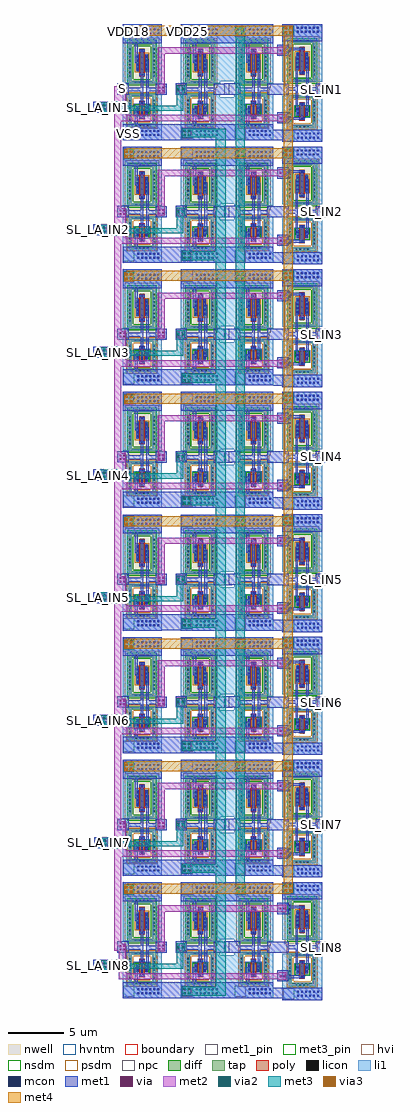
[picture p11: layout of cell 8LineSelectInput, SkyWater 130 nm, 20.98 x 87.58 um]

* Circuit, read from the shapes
.subckt 8LineSelectInput S SL_IN1 SL_IN2 SL_IN3 SL_IN4 SL_IN5 SL_IN6 SL_IN7 SL_IN8 SL_LA_IN1 SL_LA_IN2 SL_LA_IN3 SL_LA_IN4 SL_LA_IN5 SL_LA_IN6 SL_LA_IN7 SL_LA_IN8 VDD18 VDD25 VSS
XM1 1LineSelectInput_0/TransmissionGate_1/SP S VSS VSS sky130_fd_pr__nfet_g5v0d10v5 w=0.75 l=0.5
XM2 1LineSelectInput_1/TransmissionGate_1/SP S VSS VSS sky130_fd_pr__nfet_g5v0d10v5 w=0.75 l=0.5
XM3 1LineSelectInput_2/TransmissionGate_1/SP S VSS VSS sky130_fd_pr__nfet_g5v0d10v5 w=0.75 l=0.5
XM4 1LineSelectInput_3/TransmissionGate_1/SP S VSS VSS sky130_fd_pr__nfet_g5v0d10v5 w=0.75 l=0.5
XM5 1LineSelectInput_4/TransmissionGate_1/SP S VSS VSS sky130_fd_pr__nfet_g5v0d10v5 w=0.75 l=0.5
XM6 1LineSelectInput_5/TransmissionGate_1/SP S VSS VSS sky130_fd_pr__nfet_g5v0d10v5 w=0.75 l=0.5
XM7 1LineSelectInput_6/TransmissionGate_1/SP S VSS VSS sky130_fd_pr__nfet_g5v0d10v5 w=0.75 l=0.5
XM8 1LineSelectInput_7/TransmissionGate_1/SP S VSS VSS sky130_fd_pr__nfet_g5v0d10v5 w=0.75 l=0.5
XM9 1LineSelectInput_0/Buffer_2/Inverter_0/Vin SL_LA_IN8 VSS VSS sky130_fd_pr__nfet_g5v0d10v5 w=0.75 l=0.5
XM10 1LineSelectInput_1/Buffer_2/Inverter_0/Vin SL_LA_IN7 VSS VSS sky130_fd_pr__nfet_g5v0d10v5 w=0.75 l=0.5
XM11 1LineSelectInput_2/Buffer_2/Inverter_0/Vin SL_LA_IN6 VSS VSS sky130_fd_pr__nfet_g5v0d10v5 w=0.75 l=0.5
XM12 1LineSelectInput_3/Buffer_2/Inverter_0/Vin SL_LA_IN5 VSS VSS sky130_fd_pr__nfet_g5v0d10v5 w=0.75 l=0.5
XM13 1LineSelectInput_4/Buffer_2/Inverter_0/Vin SL_LA_IN4 VSS VSS sky130_fd_pr__nfet_g5v0d10v5 w=0.75 l=0.5
XM14 1LineSelectInput_5/Buffer_2/Inverter_0/Vin SL_LA_IN3 VSS VSS sky130_fd_pr__nfet_g5v0d10v5 w=0.75 l=0.5
XM15 1LineSelectInput_6/Buffer_2/Inverter_0/Vin SL_LA_IN2 VSS VSS sky130_fd_pr__nfet_g5v0d10v5 w=0.75 l=0.5
XM16 1LineSelectInput_7/Buffer_2/Inverter_0/Vin SL_LA_IN1 VSS VSS sky130_fd_pr__nfet_g5v0d10v5 w=0.75 l=0.5
XM17 1LineSelectInput_0/TransmissionGate_1/In 1LineSelectInput_0/Buffer_2/Inverter_0/Vin VSS VSS sky130_fd_pr__nfet_g5v0d10v5 w=0.75 l=0.5
XM18 1LineSelectInput_1/TransmissionGate_1/In 1LineSelectInput_1/Buffer_2/Inverter_0/Vin VSS VSS sky130_fd_pr__nfet_g5v0d10v5 w=0.75 l=0.5
XM19 1LineSelectInput_2/TransmissionGate_1/In 1LineSelectInput_2/Buffer_2/Inverter_0/Vin VSS VSS sky130_fd_pr__nfet_g5v0d10v5 w=0.75 l=0.5
XM20 1LineSelectInput_3/TransmissionGate_1/In 1LineSelectInput_3/Buffer_2/Inverter_0/Vin VSS VSS sky130_fd_pr__nfet_g5v0d10v5 w=0.75 l=0.5
XM21 1LineSelectInput_4/TransmissionGate_1/In 1LineSelectInput_4/Buffer_2/Inverter_0/Vin VSS VSS sky130_fd_pr__nfet_g5v0d10v5 w=0.75 l=0.5
XM22 1LineSelectInput_5/TransmissionGate_1/In 1LineSelectInput_5/Buffer_2/Inverter_0/Vin VSS VSS sky130_fd_pr__nfet_g5v0d10v5 w=0.75 l=0.5
XM23 1LineSelectInput_6/TransmissionGate_1/In 1LineSelectInput_6/Buffer_2/Inverter_0/Vin VSS VSS sky130_fd_pr__nfet_g5v0d10v5 w=0.75 l=0.5
XM24 1LineSelectInput_7/TransmissionGate_1/In 1LineSelectInput_7/Buffer_2/Inverter_0/Vin VSS VSS sky130_fd_pr__nfet_g5v0d10v5 w=0.75 l=0.5
XM25 SL_IN8 S 1LineSelectInput_0/TransmissionGate_1/In VSS sky130_fd_pr__nfet_g5v0d10v5 w=0.75 l=0.5
XM26 SL_IN7 S 1LineSelectInput_1/TransmissionGate_1/In VSS sky130_fd_pr__nfet_g5v0d10v5 w=0.75 l=0.5
XM27 SL_IN6 S 1LineSelectInput_2/TransmissionGate_1/In VSS sky130_fd_pr__nfet_g5v0d10v5 w=0.75 l=0.5
XM28 SL_IN5 S 1LineSelectInput_3/TransmissionGate_1/In VSS sky130_fd_pr__nfet_g5v0d10v5 w=0.75 l=0.5
XM29 SL_IN4 S 1LineSelectInput_4/TransmissionGate_1/In VSS sky130_fd_pr__nfet_g5v0d10v5 w=0.75 l=0.5
XM30 SL_IN3 S 1LineSelectInput_5/TransmissionGate_1/In VSS sky130_fd_pr__nfet_g5v0d10v5 w=0.75 l=0.5
XM31 SL_IN2 S 1LineSelectInput_6/TransmissionGate_1/In VSS sky130_fd_pr__nfet_g5v0d10v5 w=0.75 l=0.5
XM32 SL_IN1 S 1LineSelectInput_7/TransmissionGate_1/In VSS sky130_fd_pr__nfet_g5v0d10v5 w=0.75 l=0.5
XM33 1LineSelectInput_0/TransmissionGate_1/SP S VDD18 VDD18 sky130_fd_pr__pfet_g5v0d10v5 w=1.5 l=0.5
XM34 1LineSelectInput_1/TransmissionGate_1/SP S VDD18 VDD18 sky130_fd_pr__pfet_g5v0d10v5 w=1.5 l=0.5
XM35 1LineSelectInput_2/TransmissionGate_1/SP S VDD18 VDD18 sky130_fd_pr__pfet_g5v0d10v5 w=1.5 l=0.5
XM36 1LineSelectInput_3/TransmissionGate_1/SP S VDD18 VDD18 sky130_fd_pr__pfet_g5v0d10v5 w=1.5 l=0.5
XM37 1LineSelectInput_4/TransmissionGate_1/SP S VDD18 VDD18 sky130_fd_pr__pfet_g5v0d10v5 w=1.5 l=0.5
XM38 1LineSelectInput_5/TransmissionGate_1/SP S VDD18 VDD18 sky130_fd_pr__pfet_g5v0d10v5 w=1.5 l=0.5
XM39 1LineSelectInput_6/TransmissionGate_1/SP S VDD18 VDD18 sky130_fd_pr__pfet_g5v0d10v5 w=1.5 l=0.5
XM40 1LineSelectInput_7/TransmissionGate_1/SP S VDD18 VDD18 sky130_fd_pr__pfet_g5v0d10v5 w=1.5 l=0.5
XM41 1LineSelectInput_0/Buffer_2/Inverter_0/Vin SL_LA_IN8 VDD25 VDD25 sky130_fd_pr__pfet_g5v0d10v5 w=1.5 l=0.5
XM42 1LineSelectInput_1/Buffer_2/Inverter_0/Vin SL_LA_IN7 VDD25 VDD25 sky130_fd_pr__pfet_g5v0d10v5 w=1.5 l=0.5
XM43 1LineSelectInput_2/Buffer_2/Inverter_0/Vin SL_LA_IN6 VDD25 VDD25 sky130_fd_pr__pfet_g5v0d10v5 w=1.5 l=0.5
XM44 1LineSelectInput_3/Buffer_2/Inverter_0/Vin SL_LA_IN5 VDD25 VDD25 sky130_fd_pr__pfet_g5v0d10v5 w=1.5 l=0.5
XM45 1LineSelectInput_4/Buffer_2/Inverter_0/Vin SL_LA_IN4 VDD25 VDD25 sky130_fd_pr__pfet_g5v0d10v5 w=1.5 l=0.5
XM46 1LineSelectInput_5/Buffer_2/Inverter_0/Vin SL_LA_IN3 VDD25 VDD25 sky130_fd_pr__pfet_g5v0d10v5 w=1.5 l=0.5
XM47 1LineSelectInput_6/Buffer_2/Inverter_0/Vin SL_LA_IN2 VDD25 VDD25 sky130_fd_pr__pfet_g5v0d10v5 w=1.5 l=0.5
XM48 1LineSelectInput_7/Buffer_2/Inverter_0/Vin SL_LA_IN1 VDD25 VDD25 sky130_fd_pr__pfet_g5v0d10v5 w=1.5 l=0.5
XM49 1LineSelectInput_0/TransmissionGate_1/In 1LineSelectInput_0/Buffer_2/Inverter_0/Vin VDD25 VDD25 sky130_fd_pr__pfet_g5v0d10v5 w=1.5 l=0.5
XM50 1LineSelectInput_1/TransmissionGate_1/In 1LineSelectInput_1/Buffer_2/Inverter_0/Vin VDD25 VDD25 sky130_fd_pr__pfet_g5v0d10v5 w=1.5 l=0.5
XM51 1LineSelectInput_2/TransmissionGate_1/In 1LineSelectInput_2/Buffer_2/Inverter_0/Vin VDD25 VDD25 sky130_fd_pr__pfet_g5v0d10v5 w=1.5 l=0.5
XM52 1LineSelectInput_3/TransmissionGate_1/In 1LineSelectInput_3/Buffer_2/Inverter_0/Vin VDD25 VDD25 sky130_fd_pr__pfet_g5v0d10v5 w=1.5 l=0.5
XM53 1LineSelectInput_4/TransmissionGate_1/In 1LineSelectInput_4/Buffer_2/Inverter_0/Vin VDD25 VDD25 sky130_fd_pr__pfet_g5v0d10v5 w=1.5 l=0.5
XM54 1LineSelectInput_5/TransmissionGate_1/In 1LineSelectInput_5/Buffer_2/Inverter_0/Vin VDD25 VDD25 sky130_fd_pr__pfet_g5v0d10v5 w=1.5 l=0.5
XM55 1LineSelectInput_6/TransmissionGate_1/In 1LineSelectInput_6/Buffer_2/Inverter_0/Vin VDD25 VDD25 sky130_fd_pr__pfet_g5v0d10v5 w=1.5 l=0.5
XM56 1LineSelectInput_7/TransmissionGate_1/In 1LineSelectInput_7/Buffer_2/Inverter_0/Vin VDD25 VDD25 sky130_fd_pr__pfet_g5v0d10v5 w=1.5 l=0.5
XM57 SL_IN8 1LineSelectInput_0/TransmissionGate_1/SP 1LineSelectInput_0/TransmissionGate_1/In VDD18 sky130_fd_pr__pfet_g5v0d10v5 w=1.5 l=0.5
XM58 SL_IN7 1LineSelectInput_1/TransmissionGate_1/SP 1LineSelectInput_1/TransmissionGate_1/In VDD18 sky130_fd_pr__pfet_g5v0d10v5 w=1.5 l=0.5
XM59 SL_IN6 1LineSelectInput_2/TransmissionGate_1/SP 1LineSelectInput_2/TransmissionGate_1/In VDD18 sky130_fd_pr__pfet_g5v0d10v5 w=1.5 l=0.5
XM60 SL_IN5 1LineSelectInput_3/TransmissionGate_1/SP 1LineSelectInput_3/TransmissionGate_1/In VDD18 sky130_fd_pr__pfet_g5v0d10v5 w=1.5 l=0.5
XM61 SL_IN4 1LineSelectInput_4/TransmissionGate_1/SP 1LineSelectInput_4/TransmissionGate_1/In VDD18 sky130_fd_pr__pfet_g5v0d10v5 w=1.5 l=0.5
XM62 SL_IN3 1LineSelectInput_5/TransmissionGate_1/SP 1LineSelectInput_5/TransmissionGate_1/In VDD18 sky130_fd_pr__pfet_g5v0d10v5 w=1.5 l=0.5
XM63 SL_IN2 1LineSelectInput_6/TransmissionGate_1/SP 1LineSelectInput_6/TransmissionGate_1/In VDD18 sky130_fd_pr__pfet_g5v0d10v5 w=1.5 l=0.5
XM64 SL_IN1 1LineSelectInput_7/TransmissionGate_1/SP 1LineSelectInput_7/TransmissionGate_1/In VDD18 sky130_fd_pr__pfet_g5v0d10v5 w=1.5 l=0.5
.ends

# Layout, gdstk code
import gdstk
lib = gdstk.Library(unit=1e-6, precision=1e-09)
def R(c, l, rs):  # rectangles x0, y0, x1, y1
    for r in rs: c.add(gdstk.rectangle(r[:2], r[2:], *l))
def A(c, l, x, y, w, h, nx, ny, dx, dy):  # array of equal rectangles
    R(c, l, [(x+i*dx, y+j*dy, x+i*dx+w, y+j*dy+h) for i in range(nx) for j in range(ny)])
nwell = (64, 20)
diff = (65, 20)
tap = (65, 44)
poly = (66, 20)
licon = (66, 44)
li1 = (67, 20)
mcon = (67, 44)
met1_pin = (68, 16)
met1 = (68, 20)
via = (68, 44)
met2 = (69, 20)
via2 = (69, 44)
met3_pin = (70, 16)
met3 = (70, 20)
via3 = (70, 44)
met4 = (71, 20)
hvi = (75, 20)
nsdm = (93, 44)
psdm = (94, 20)
npc = (95, 20)
hvntm = (125, 20)
boundary = (235, 4)

sky130_fd_pr__pfet_g5v0d = lib.new_cell('sky130_fd_pr__pfet_g5v0d10v5_7EBZY6')
R(sky130_fd_pr__pfet_g5v0d, nwell, [(-1.54,-2.235,1.54,2.235)])
R(sky130_fd_pr__pfet_g5v0d, diff, [(-0.54,-0.75,0.54,0.75)])
R(sky130_fd_pr__pfet_g5v0d, tap, [(-1.21,-1.905,1.21,-1.615), (-1.21,-1.615,-0.92,1.615), (0.92,-1.615,1.21,1.615), (-1.21,1.615,1.21,1.905)])
R(sky130_fd_pr__pfet_g5v0d, poly, [(-0.25,-1.235,0.25,1.235)])
A(sky130_fd_pr__pfet_g5v0d, licon, -0.595, -1.845, 0.17, 0.17, 4, 2, 0.34, 3.52)
A(sky130_fd_pr__pfet_g5v0d, licon, -1.15, -1.275, 0.17, 0.17, 1, 8, 0, 0.34)
A(sky130_fd_pr__pfet_g5v0d, licon, 0.98, -1.275, 0.17, 0.17, 1, 8, 0, 0.34)
A(sky130_fd_pr__pfet_g5v0d, licon, -0.48, -0.595, 0.17, 0.17, 1, 4, 0, 0.34)
A(sky130_fd_pr__pfet_g5v0d, licon, 0.31, -0.595, 0.17, 0.17, 1, 4, 0, 0.34)
R(sky130_fd_pr__pfet_g5v0d, licon, [(-0.085,-1.155,0.085,-0.985), (-0.085,0.985,0.085,1.155)])
R(sky130_fd_pr__pfet_g5v0d, li1, [(-1.15,-1.845,1.15,-1.675), (-1.15,-1.675,-0.98,1.675), (0.98,-1.675,1.15,1.675), (-0.25,-1.155,0.25,-0.985), (-0.48,-0.77,-0.31,0.77), (0.31,-0.77,0.48,0.77), (-0.25,0.985,0.25,1.155), (-1.15,1.675,1.15,1.845)])
A(sky130_fd_pr__pfet_g5v0d, mcon, -0.48, -0.625, 0.17, 0.17, 1, 4, 0, 0.36)
A(sky130_fd_pr__pfet_g5v0d, mcon, 0.31, -0.625, 0.17, 0.17, 1, 4, 0, 0.36)
R(sky130_fd_pr__pfet_g5v0d, mcon, [(-0.085,-1.155,0.085,-0.985), (-0.085,0.985,0.085,1.155)])
R(sky130_fd_pr__pfet_g5v0d, met1, [(-0.23,-1.185,0.23,-0.955), (-0.51,-0.75,-0.28,0.75), (0.28,-0.75,0.51,0.75), (-0.23,0.955,0.23,1.185)])
R(sky130_fd_pr__pfet_g5v0d, hvi, [(-1.54,-2.235,1.54,2.235)])
R(sky130_fd_pr__pfet_g5v0d, nsdm, [(-1.335,-2.03,1.335,-1.49), (-1.335,-1.49,-0.795,1.49), (0.795,-1.49,1.335,1.49), (-1.335,1.49,1.335,2.03)])
R(sky130_fd_pr__pfet_g5v0d, psdm, [(-0.665,-0.875,0.665,0.875)])
R(sky130_fd_pr__pfet_g5v0d, npc, [(-0.185,-1.255,0.185,-0.885), (-0.185,0.885,0.185,1.255)])
R(sky130_fd_pr__pfet_g5v0d, boundary, [(-1.065,-1.76,1.065,1.76)])

sky130_fd_pr__nfet_g5v0d = lib.new_cell('sky130_fd_pr__nfet_g5v0d10v5_6XHARQ')
R(sky130_fd_pr__nfet_g5v0d, diff, [(-0.54,-0.375,0.54,0.375)])
R(sky130_fd_pr__nfet_g5v0d, tap, [(-1.21,-1.485,1.21,-1.195), (-1.21,-1.195,-0.92,1.195), (0.92,-1.195,1.21,1.195), (-1.21,1.195,1.21,1.485)])
R(sky130_fd_pr__nfet_g5v0d, poly, [(-0.25,-0.815,0.25,0.815)])
A(sky130_fd_pr__nfet_g5v0d, licon, -0.595, -1.425, 0.17, 0.17, 4, 2, 0.34, 2.68)
A(sky130_fd_pr__nfet_g5v0d, licon, -1.15, -0.935, 0.17, 0.17, 1, 6, 0, 0.34)
A(sky130_fd_pr__nfet_g5v0d, licon, 0.98, -0.935, 0.17, 0.17, 1, 6, 0, 0.34)
R(sky130_fd_pr__nfet_g5v0d, licon, [(-0.085,-0.735,0.085,-0.565), (-0.48,-0.255,-0.31,-0.085), (0.31,-0.255,0.48,-0.085), (-0.48,0.085,-0.31,0.255), (0.31,0.085,0.48,0.255), (-0.085,0.565,0.085,0.735)])
R(sky130_fd_pr__nfet_g5v0d, li1, [(-1.15,-1.425,1.15,-1.255), (-1.15,-1.255,-0.98,1.255), (0.98,-1.255,1.15,1.255), (-0.25,-0.735,0.25,-0.565), (-0.48,-0.395,-0.31,0.395), (0.31,-0.395,0.48,0.395), (-0.25,0.565,0.25,0.735), (-1.15,1.255,1.15,1.425)])
R(sky130_fd_pr__nfet_g5v0d, mcon, [(-0.085,-0.735,0.085,-0.565), (-0.48,-0.265,-0.31,-0.095), (0.31,-0.265,0.48,-0.095), (-0.48,0.095,-0.31,0.265), (0.31,0.095,0.48,0.265), (-0.085,0.565,0.085,0.735)])
R(sky130_fd_pr__nfet_g5v0d, met1, [(-0.23,-0.765,0.23,-0.535), (-0.51,-0.375,-0.28,0.375), (0.28,-0.375,0.51,0.375), (-0.23,0.535,0.23,0.765)])
R(sky130_fd_pr__nfet_g5v0d, hvi, [(-1.395,-1.67,1.395,1.67)])
R(sky130_fd_pr__nfet_g5v0d, nsdm, [(-0.665,-0.5,0.665,0.5)])
R(sky130_fd_pr__nfet_g5v0d, psdm, [(-1.335,-1.61,1.335,-1.07), (-1.335,-1.07,-0.795,1.07), (0.795,-1.07,1.335,1.07), (-1.335,1.07,1.335,1.61)])
R(sky130_fd_pr__nfet_g5v0d, npc, [(-0.185,-0.835,0.185,-0.465), (-0.185,0.465,0.185,0.835)])
R(sky130_fd_pr__nfet_g5v0d, hvntm, [(-0.725,-0.56,0.725,0.56)])
R(sky130_fd_pr__nfet_g5v0d, boundary, [(-1.065,-1.34,1.065,1.34)])

inverter = lib.new_cell('Inverter')
R(inverter, li1, [(4.95,-2.22,8.45,-0.93), (4.95,-0.93,5.73,1.91), (7.67,-0.93,8.45,1.91), (4.95,1.91,5.54,1.92), (7.84,1.91,8.45,1.92), (4.95,2.9,5.56,2.92), (7.84,2.9,8.46,2.92), (4.95,2.92,5.73,6.43), (7.67,2.92,8.46,6.43), (4.95,6.43,8.46,8.19)])
A(inverter, mcon, 6.275, -1.835, 0.17, 0.17, 6, 2, 0.36, 0.36)
A(inverter, mcon, 6.275, 7.275, 0.17, 0.17, 6, 2, 0.36, 0.36)
R(inverter, met1_pin, [(5,-2.1,6,-1.1), (7.9,1.86,8.9,2.86), (4.48,1.88,5.48,2.88), (5.01,7.07,6.01,8.07)])
R(inverter, met1, [(4.95,-2.22,8.45,-0.77), (6.02,-0.77,6.31,0.59), (6.6,-0.24,6.77,0.96), (7.06,0.35,7.31,2.16), (6.57,0.96,6.8,2.16), (7.9,1.86,8.9,2.16), (4.48,1.88,5.48,2.16), (4.48,2.16,6.8,2.51), (7.06,2.16,8.9,2.51), (4.48,2.51,5.48,2.88), (6.57,2.51,6.8,3.9), (7.06,2.51,7.31,5.02), (7.9,2.51,8.9,2.86), (6.59,3.9,6.79,5.89), (6.02,4.75,6.31,6.5), (7.19,5.02,7.31,5.03), (4.95,6.5,8.46,8.19)])
R(inverter, hvi, [(5.295,2.165,8.085,2.51)])
inverter.add(gdstk.Reference(sky130_fd_pr__pfet_g5v0d, (6.69,4.745)))
inverter.add(gdstk.Reference(sky130_fd_pr__nfet_g5v0d, (6.69,0.495)))
inverter.add(gdstk.Label('Vin', (4.98,2.38), layer=68, texttype=5))
inverter.add(gdstk.Label('VDD', (5.51,7.57), layer=68, texttype=5))
inverter.add(gdstk.Label('VSS', (5.5,-1.6), layer=68, texttype=5))
inverter.add(gdstk.Label('Vout', (8.4,2.36), layer=68, texttype=5))

transmissiongate = lib.new_cell('TransmissionGate')
R(transmissiongate, li1, [(1.07,2.1,4.66,3.51), (1.07,3.51,1.71,6.26), (3.79,3.51,4.66,6.26), (1.07,7.52,1.71,10.17), (4.01,7.52,4.65,11.06), (1.07,10.17,1.78,10.78), (1.07,10.78,1.71,11.06), (1.07,11.06,4.65,12.68)])
A(transmissiongate, mcon, 2.4, 2.405, 0.17, 0.17, 6, 2, 0.36, 0.36)
A(transmissiongate, mcon, 2.39, 11.885, 0.17, 0.17, 6, 2, 0.36, 0.36)
R(transmissiongate, met1_pin, [(1.15,2.16,2.15,3.16), (0.63,3.77,1.63,4.77), (0.64,6.33,1.64,7.33), (4.08,6.33,5.08,7.33), (0.64,9.81,1.64,10.81), (1.14,11.64,2.14,12.64)])
R(transmissiongate, met1, [(1.07,2.1,4.66,3.2), (0.63,3.77,1.63,4.07), (0.63,4.07,2.72,4.3), (0.63,4.3,1.63,4.77), (2.75,4.3,2.96,5.56), (2.27,4.79,2.48,6.67), (3.24,4.81,3.45,6.67), (0.64,6.33,1.64,6.67), (4.08,6.33,5.08,6.67), (0.64,6.67,2.48,7.01), (3.24,6.67,5.08,7.01), (0.64,7.01,1.64,7.33), (2.27,7.01,2.48,9.72), (3.24,7.01,3.45,9.74), (4.08,7.01,5.08,7.33), (2.75,8.2,2.97,10.32), (0.64,9.81,1.64,10.32), (0.64,10.32,3.01,10.55), (0.64,10.55,1.64,10.81), (1.07,11.13,4.65,12.68)])
R(transmissiongate, hvi, [(1.465,6.505,4.255,7.13)])
transmissiongate.add(gdstk.Reference(sky130_fd_pr__pfet_g5v0d, (2.86,9.365)))
transmissiongate.add(gdstk.Reference(sky130_fd_pr__nfet_g5v0d, (2.86,4.835)))
transmissiongate.add(gdstk.Label('Out', (4.58,6.83), layer=68, texttype=5))
transmissiongate.add(gdstk.Label('In', (1.14,6.83), layer=68, texttype=5))
transmissiongate.add(gdstk.Label('SP', (1.14,10.31), layer=68, texttype=5))
transmissiongate.add(gdstk.Label('VDD', (1.64,12.14), layer=68, texttype=5))
transmissiongate.add(gdstk.Label('VSS', (1.65,2.66), layer=68, texttype=5))
transmissiongate.add(gdstk.Label('SN', (1.13,4.27), layer=68, texttype=5))

buffer = lib.new_cell('Buffer')
R(buffer, li1, [(13.26,6.8,14.54,10.67), (13.26,12.09,14.54,15.53), (13.27,15.53,14.54,17.21)])
R(buffer, met1_pin, [(9.79,6.94,10.79,7.94), (17.49,10.88,18.49,11.88), (9.29,10.9,10.29,11.9), (9.82,16.09,10.82,17.09)])
R(buffer, met1, [(13.26,6.8,14.54,8.25), (9.79,6.94,10.79,7.94), (13.65,10.88,14.36,11.9), (17.49,10.88,18.49,11.88), (9.29,10.9,10.29,11.9), (13.27,15.52,14.54,17.21), (9.82,16.09,10.82,17.09)])
buffer.add(gdstk.Reference(inverter, (9.59,9.02)))
buffer.add(gdstk.Reference(inverter, (4.81,9.02)))
buffer.add(gdstk.Label('VDD', (10.32,16.59), layer=68, texttype=5))
buffer.add(gdstk.Label('VSS', (10.29,7.44), layer=68, texttype=5))
buffer.add(gdstk.Label('Vin', (9.79,11.4), layer=68, texttype=5))
buffer.add(gdstk.Label('Vout', (17.99,11.38), layer=68, texttype=5))

c_1lineselectinput = lib.new_cell('1LineSelectInput')
R(c_1lineselectinput, met1_pin, [(7.3,4.25,8.3,5.25), (24.58,8.21,25.58,9.21), (6.78,8.23,7.78,9.23), (7.31,13.42,8.31,14.42), (12.54,13.42,13.54,14.42)])
R(c_1lineselectinput, met1, [(20.76,4.12,21.73,5.045), (10.74,4.14,12.81,5.58), (7.3,4.25,8.3,5.25), (20.735,5.045,22.185,5.08), (21.21,5.83,21.99,6.4), (24.58,8.21,25.58,9.21), (6.78,8.23,7.78,9.23), (10.33,8.4,11.09,9.02), (12.04,8.4,12.86,9.04), (21.19,11.91,21.97,12.46), (7.31,13.42,8.31,14.42), (12.54,13.42,13.54,14.42), (21.65,13.6,22.55,14.4)])
R(c_1lineselectinput, via, [(21.365,6.04,21.515,6.19), (21.685,6.04,21.835,6.19), (6.98,8.44,7.13,8.59), (7.3,8.44,7.45,8.59), (10.475,8.475,10.625,8.625), (10.795,8.475,10.945,8.625), (12.215,8.485,12.365,8.635), (12.535,8.485,12.685,8.635), (6.98,8.76,7.13,8.91), (7.3,8.76,7.45,8.91), (10.475,8.795,10.625,8.945), (10.795,8.795,10.945,8.945), (12.215,8.805,12.365,8.955), (12.535,8.805,12.685,8.955), (21.345,12.11,21.495,12.26), (21.665,12.11,21.815,12.26), (7.565,13.665,7.715,13.815), (7.885,13.665,8.035,13.815), (21.865,13.765,22.015,13.915), (22.185,13.765,22.335,13.915), (7.565,13.985,7.715,14.135), (7.885,13.985,8.035,14.135), (21.865,14.085,22.015,14.235), (22.185,14.085,22.335,14.235)])
R(c_1lineselectinput, met2, [(21.26,5.78,21.94,5.82), (6.92,5.82,21.94,6.4), (6.92,6.4,7.51,9.02), (21.26,6.4,21.94,6.45), (10.38,8.35,11.04,9.07), (12.09,8.35,12.81,9.09), (10.38,9.07,11.03,11.91), (21.24,11.86,21.92,11.91), (10.38,11.91,21.93,12.46), (21.24,12.46,21.92,12.51), (7.4,13.45,8.2,14.35), (21.7,13.55,22.5,14.45)])
R(c_1lineselectinput, via2, [(12.15,8.62,12.35,8.82), (12.55,8.62,12.75,8.82), (7.5,13.6,7.7,13.8), (7.9,13.6,8.1,13.8), (21.8,13.7,22,13.9), (22.2,13.7,22.4,13.9), (7.5,14,7.7,14.2), (7.9,14,8.1,14.2), (21.8,14.1,22,14.3), (22.2,14.1,22.4,14.3)])
R(c_1lineselectinput, met3_pin, [(5.9,6.59,6.9,7.59)])
R(c_1lineselectinput, met3, [(5.9,6.59,6.9,6.77), (5.9,6.77,12.71,7.23), (5.9,7.23,6.9,7.59), (12.09,7.23,12.71,8.375), (12.04,8.375,12.86,9.065), (7.35,13.475,8.25,14.325), (21.65,13.575,22.55,14.425)])
R(c_1lineselectinput, via3, [(7.5,13.6,7.7,13.8), (7.9,13.6,8.1,13.8), (21.8,13.7,22,13.9), (22.2,13.7,22.4,13.9), (7.5,14,7.7,14.2), (7.9,14,8.1,14.2), (21.8,14.1,22,14.3), (22.2,14.1,22.4,14.3)])
R(c_1lineselectinput, met4, [(7.395,13.495,8.205,13.5), (7.395,13.5,22.3,13.595), (7.395,13.595,22.505,14.305), (7.6,14.305,22.505,14.4), (21.695,14.4,22.505,14.405)])
c_1lineselectinput.add(gdstk.Reference(inverter, (2.3,6.35)))
c_1lineselectinput.add(gdstk.Reference(transmissiongate, (20.5,1.88)))
c_1lineselectinput.add(gdstk.Reference(buffer, (2.72,-2.67)))
c_1lineselectinput.add(gdstk.Label('VDD_18', (7.81,13.92), layer=68, texttype=5))
c_1lineselectinput.add(gdstk.Label('VSS', (7.8,4.75), layer=68, texttype=5))
c_1lineselectinput.add(gdstk.Label('Vin', (6.4,7.09), layer=70, texttype=5))
c_1lineselectinput.add(gdstk.Label('Vout', (25.08,8.71), layer=68, texttype=5))
c_1lineselectinput.add(gdstk.Label('S', (7.28,8.73), layer=68, texttype=5))
c_1lineselectinput.add(gdstk.Label('VDD_25', (13.04,13.92), layer=68, texttype=5))

c_8lineselectinput = lib.new_cell('8LineSelectInput')
A(c_8lineselectinput, met1_pin, 156.68, 6.23, 1, 1, 1, 8, 0, 11)
A(c_8lineselectinput, met1_pin, 136.7, 26.61, 1, 1, 1, 6, 0, 11)
R(c_8lineselectinput, met1_pin, [(136.7,4.61,137.7,5.61), (136.8,15.61,137.8,16.61), (139.4,79.27,140.4,80.27), (138.88,83.25,139.88,84.25), (139.41,88.44,140.41,89.44), (144.64,88.44,145.64,89.44)])
A(c_8lineselectinput, met1, 144.65, 2.4, 0.9, 0.8, 1, 8, 0, 11)
A(c_8lineselectinput, met1, 156.68, 6.23, 1, 1, 1, 8, 0, 11)
R(c_8lineselectinput, met1, [(136.7,4.61,137.7,4.68), (136.7,4.68,138.09,5.55), (136.7,5.55,137.7,5.61), (149.55,11.53,150.36,12.31), (136.8,15.61,137.8,15.68), (136.8,15.68,138.07,16.55), (136.8,16.55,137.8,16.61), (149.53,22.52,150.34,23.3), (136.7,26.61,137.7,26.67), (136.7,26.67,138.06,27.54), (136.7,27.54,137.7,27.61), (149.53,33.55,150.34,34.33), (136.7,37.61,137.7,37.69), (136.7,37.69,138.06,38.56), (136.7,38.56,137.7,38.61), (149.52,44.49,150.33,45.27), (136.7,48.61,137.7,48.68), (136.7,48.68,138.04,49.55), (136.7,49.55,137.7,49.61), (149.48,55.53,150.29,56.31), (136.7,59.61,137.7,59.69), (136.7,59.69,138.06,60.56), (136.7,60.56,137.7,60.61), (149.49,66.52,150.3,67.3), (136.7,70.61,137.7,70.68), (136.7,70.68,138.02,71.55), (136.7,71.55,137.7,71.61), (149.52,77.54,150.33,78.32), (139.4,79.27,140.4,80.27), (136.7,81.61,137.7,81.68), (136.7,81.68,138.04,82.55), (136.7,82.55,137.7,82.61), (138.88,83.25,139.88,84.25), (139.41,88.44,140.41,89.44), (144.64,88.44,145.64,89.44), (149.47,88.5,150.28,89.28)])
R(c_8lineselectinput, via, [(144.865,2.565,145.015,2.715), (145.185,2.565,145.335,2.715), (144.865,2.885,145.015,3.035), (145.185,2.885,145.335,3.035), (137.5,4.88,137.65,5.03), (137.82,4.88,137.97,5.03), (137.5,5.2,137.65,5.35), (137.82,5.2,137.97,5.35), (149.72,11.685,149.87,11.835), (150.04,11.685,150.19,11.835), (149.72,12.005,149.87,12.155), (150.04,12.005,150.19,12.155), (144.865,13.565,145.015,13.715), (145.185,13.565,145.335,13.715), (144.865,13.885,145.015,14.035), (145.185,13.885,145.335,14.035), (137.48,15.88,137.63,16.03), (137.8,15.88,137.95,16.03), (137.48,16.2,137.63,16.35), (137.8,16.2,137.95,16.35), (149.7,22.675,149.85,22.825), (150.02,22.675,150.17,22.825), (149.7,22.995,149.85,23.145), (150.02,22.995,150.17,23.145), (144.865,24.565,145.015,24.715), (145.185,24.565,145.335,24.715), (144.865,24.885,145.015,25.035), (145.185,24.885,145.335,25.035), (137.47,26.87,137.62,27.02), (137.79,26.87,137.94,27.02), (137.47,27.19,137.62,27.34), (137.79,27.19,137.94,27.34), (149.7,33.705,149.85,33.855), (150.02,33.705,150.17,33.855), (149.7,34.025,149.85,34.175), (150.02,34.025,150.17,34.175), (144.865,35.565,145.015,35.715), (145.185,35.565,145.335,35.715), (144.865,35.885,145.015,36.035), (145.185,35.885,145.335,36.035), (137.47,37.89,137.62,38.04), (137.79,37.89,137.94,38.04), (137.47,38.21,137.62,38.36), (137.79,38.21,137.94,38.36), (149.69,44.645,149.84,44.795), (150.01,44.645,150.16,44.795), (149.69,44.965,149.84,45.115), (150.01,44.965,150.16,45.115), (144.865,46.565,145.015,46.715), (145.185,46.565,145.335,46.715), (144.865,46.885,145.015,47.035), (145.185,46.885,145.335,47.035), (137.45,48.88,137.6,49.03), (137.77,48.88,137.92,49.03), (137.45,49.2,137.6,49.35), (137.77,49.2,137.92,49.35), (149.65,55.685,149.8,55.835), (149.97,55.685,150.12,55.835), (149.65,56.005,149.8,56.155), (149.97,56.005,150.12,56.155), (144.865,57.565,145.015,57.715), (145.185,57.565,145.335,57.715), (144.865,57.885,145.015,58.035), (145.185,57.885,145.335,58.035), (137.47,59.89,137.62,60.04), (137.79,59.89,137.94,60.04), (137.47,60.21,137.62,60.36), (137.79,60.21,137.94,60.36), (149.66,66.675,149.81,66.825), (149.98,66.675,150.13,66.825), (149.66,66.995,149.81,67.145), (149.98,66.995,150.13,67.145), (144.865,68.565,145.015,68.715), (145.185,68.565,145.335,68.715), (144.865,68.885,145.015,69.035), (145.185,68.885,145.335,69.035), (137.43,70.88,137.58,71.03), (137.75,70.88,137.9,71.03), (137.43,71.2,137.58,71.35), (137.75,71.2,137.9,71.35), (149.69,77.695,149.84,77.845), (150.01,77.695,150.16,77.845), (149.69,78.015,149.84,78.165), (150.01,78.015,150.16,78.165), (144.865,79.565,145.015,79.715), (145.185,79.565,145.335,79.715), (144.865,79.885,145.015,80.035), (145.185,79.885,145.335,80.035), (137.45,81.88,137.6,82.03), (137.77,81.88,137.92,82.03), (137.45,82.2,137.6,82.35), (137.77,82.2,137.92,82.35), (149.64,88.655,149.79,88.805), (149.96,88.655,150.11,88.805), (149.64,88.975,149.79,89.125), (149.96,88.975,150.11,89.125)])
A(c_8lineselectinput, met2, 144.7, 2.35, 0.8, 0.9, 1, 8, 0, 11)
R(c_8lineselectinput, met2, [(137.43,4.63,138.04,5.6), (138.6,6.4,139.21,83.63), (149.6,11.48,150.31,12.36), (137.41,15.63,138.02,16.6), (149.58,22.47,150.29,23.35), (137.4,26.62,138.01,27.59), (149.58,33.5,150.29,34.38), (137.4,37.64,138.01,38.61), (149.57,44.44,150.28,45.32), (137.38,48.63,137.99,49.6), (149.53,55.48,150.24,56.36), (137.4,59.64,138.01,60.61), (149.54,66.47,150.25,67.35), (137.36,70.63,137.97,71.6), (149.57,77.49,150.28,78.37), (137.38,81.63,137.99,82.6), (138.6,83.63,139.2,84), (149.52,88.45,150.23,89.33)])
R(c_8lineselectinput, via2, [(144.8,2.5,145,2.7), (145.2,2.5,145.4,2.7), (144.8,2.9,145,3.1), (145.2,2.9,145.4,3.1), (137.635,4.815,137.835,5.015), (137.635,5.215,137.835,5.415), (149.655,11.62,149.855,11.82), (150.055,11.62,150.255,11.82), (149.655,12.02,149.855,12.22), (150.055,12.02,150.255,12.22), (144.8,13.5,145,13.7), (145.2,13.5,145.4,13.7), (144.8,13.9,145,14.1), (145.2,13.9,145.4,14.1), (137.615,15.815,137.815,16.015), (137.615,16.215,137.815,16.415), (149.635,22.61,149.835,22.81), (150.035,22.61,150.235,22.81), (149.635,23.01,149.835,23.21), (150.035,23.01,150.235,23.21), (144.8,24.5,145,24.7), (145.2,24.5,145.4,24.7), (144.8,24.9,145,25.1), (145.2,24.9,145.4,25.1), (137.605,26.805,137.805,27.005), (137.605,27.205,137.805,27.405), (149.635,33.64,149.835,33.84), (150.035,33.64,150.235,33.84), (149.635,34.04,149.835,34.24), (150.035,34.04,150.235,34.24), (144.8,35.5,145,35.7), (145.2,35.5,145.4,35.7), (144.8,35.9,145,36.1), (145.2,35.9,145.4,36.1), (137.605,37.825,137.805,38.025), (137.605,38.225,137.805,38.425), (149.625,44.58,149.825,44.78), (150.025,44.58,150.225,44.78), (149.625,44.98,149.825,45.18), (150.025,44.98,150.225,45.18), (144.8,46.5,145,46.7), (145.2,46.5,145.4,46.7), (144.8,46.9,145,47.1), (145.2,46.9,145.4,47.1), (137.585,48.815,137.785,49.015), (137.585,49.215,137.785,49.415), (149.585,55.62,149.785,55.82), (149.985,55.62,150.185,55.82), (149.585,56.02,149.785,56.22), (149.985,56.02,150.185,56.22), (144.8,57.5,145,57.7), (145.2,57.5,145.4,57.7), (144.8,57.9,145,58.1), (145.2,57.9,145.4,58.1), (137.605,59.825,137.805,60.025), (137.605,60.225,137.805,60.425), (149.595,66.61,149.795,66.81), (149.995,66.61,150.195,66.81), (149.595,67.01,149.795,67.21), (149.995,67.01,150.195,67.21), (144.8,68.5,145,68.7), (145.2,68.5,145.4,68.7), (144.8,68.9,145,69.1), (145.2,68.9,145.4,69.1), (137.565,70.815,137.765,71.015), (137.565,71.215,137.765,71.415), (149.625,77.63,149.825,77.83), (150.025,77.63,150.225,77.83), (149.625,78.03,149.825,78.23), (150.025,78.03,150.225,78.23), (144.8,79.5,145,79.7), (145.2,79.5,145.4,79.7), (144.8,79.9,145,80.1), (145.2,79.9,145.4,80.1), (137.585,81.815,137.785,82.015), (137.585,82.215,137.785,82.415), (149.575,88.59,149.775,88.79), (149.975,88.59,150.175,88.79), (149.575,88.99,149.775,89.19), (149.975,88.99,150.175,89.19)])
A(c_8lineselectinput, met3, 144.65, 2.4, 3.95, 0.8, 1, 8, 0, 11)
A(c_8lineselectinput, met3, 147.7, 3.2, 0.9, 10.2, 1, 7, 0, 11)
R(c_8lineselectinput, met3, [(144.65,2.375,145.55,2.4), (144.65,3.2,145.55,3.225), (137.38,4.655,138.09,5.575), (149.55,11.505,150.36,11.93), (149.52,11.93,150.36,12.335), (149.52,12.335,150.31,22.495), (144.65,13.375,145.55,13.4), (144.65,14.2,145.55,14.225), (137.36,15.655,138.07,16.575), (149.52,22.495,150.34,23.325), (149.52,23.325,150.31,33.525), (144.65,24.375,145.55,24.4), (144.65,25.2,145.55,25.225), (137.35,26.645,138.06,27.565), (149.52,33.525,150.34,34.355), (149.52,34.355,150.31,44.465), (144.65,35.375,145.55,35.4), (144.65,36.2,145.55,36.225), (137.35,37.665,138.06,38.585), (149.52,44.465,150.33,45.295), (149.52,45.295,150.31,55.505), (144.65,46.375,145.55,46.4), (144.65,47.2,145.55,47.225), (137.33,48.655,138.04,49.575), (149.48,55.505,150.31,56.335), (149.52,56.335,150.31,66.495), (144.65,57.375,145.55,57.4), (144.65,58.2,145.55,58.225), (137.35,59.665,138.06,60.585), (149.49,66.495,150.31,67.325), (149.52,67.325,150.31,77.515), (144.65,68.375,145.55,68.4), (144.65,69.2,145.55,69.225), (137.31,70.655,138.02,71.575), (149.52,77.515,150.33,78.345), (149.52,78.345,150.31,88.475), (144.65,79.375,145.55,79.4), (144.65,80.2,145.55,80.225), (137.33,81.655,138.04,82.575), (149.47,88.475,150.31,88.82), (149.47,88.82,150.28,89.305)])
R(c_8lineselectinput, met4, [(153.8,11.9,154.6,89.1)])
c_8lineselectinput.add(gdstk.Reference(c_1lineselectinput, (132.1,-1.98)))
c_8lineselectinput.add(gdstk.Reference(c_1lineselectinput, (132.1,9.02)))
c_8lineselectinput.add(gdstk.Reference(c_1lineselectinput, (132.1,20.02)))
c_8lineselectinput.add(gdstk.Reference(c_1lineselectinput, (132.1,31.02)))
c_8lineselectinput.add(gdstk.Reference(c_1lineselectinput, (132.1,42.02)))
c_8lineselectinput.add(gdstk.Reference(c_1lineselectinput, (132.1,53.02)))
c_8lineselectinput.add(gdstk.Reference(c_1lineselectinput, (132.1,64.02)))
c_8lineselectinput.add(gdstk.Reference(c_1lineselectinput, (132.1,75.02)))
c_8lineselectinput.add(gdstk.Label('VDD25', (145.14,88.94), layer=68, texttype=5))
c_8lineselectinput.add(gdstk.Label('VSS', (139.9,79.77), layer=68, texttype=5))
c_8lineselectinput.add(gdstk.Label('SL_LA_IN8', (137.2,5.11), layer=68, texttype=5))
c_8lineselectinput.add(gdstk.Label('SL_LA_IN7', (137.3,16.11), layer=68, texttype=5))
c_8lineselectinput.add(gdstk.Label('SL_LA_IN6', (137.2,27.11), layer=68, texttype=5))
c_8lineselectinput.add(gdstk.Label('SL_LA_IN5', (137.2,38.11), layer=68, texttype=5))
c_8lineselectinput.add(gdstk.Label('SL_LA_IN4', (137.2,49.11), layer=68, texttype=5))
c_8lineselectinput.add(gdstk.Label('SL_LA_IN3', (137.2,60.11), layer=68, texttype=5))
c_8lineselectinput.add(gdstk.Label('SL_LA_IN2', (137.2,71.11), layer=68, texttype=5))
c_8lineselectinput.add(gdstk.Label('SL_LA_IN1', (137.2,82.11), layer=68, texttype=5))
c_8lineselectinput.add(gdstk.Label('S', (139.38,83.75), layer=68, texttype=5))
c_8lineselectinput.add(gdstk.Label('SL_IN8', (157.18,6.73), layer=68, texttype=5))
c_8lineselectinput.add(gdstk.Label('SL_IN7', (157.18,17.73), layer=68, texttype=5))
c_8lineselectinput.add(gdstk.Label('SL_IN6', (157.18,28.73), layer=68, texttype=5))
c_8lineselectinput.add(gdstk.Label('SL_IN5', (157.18,39.73), layer=68, texttype=5))
c_8lineselectinput.add(gdstk.Label('SL_IN4', (157.18,50.73), layer=68, texttype=5))
c_8lineselectinput.add(gdstk.Label('SL_IN3', (157.18,61.73), layer=68, texttype=5))
c_8lineselectinput.add(gdstk.Label('SL_IN2', (157.18,72.73), layer=68, texttype=5))
c_8lineselectinput.add(gdstk.Label('SL_IN1', (157.18,83.73), layer=68, texttype=5))
c_8lineselectinput.add(gdstk.Label('VDD18', (139.91,88.94), layer=68, texttype=5))

lib.write_gds('8LineSelectInput.gds')
